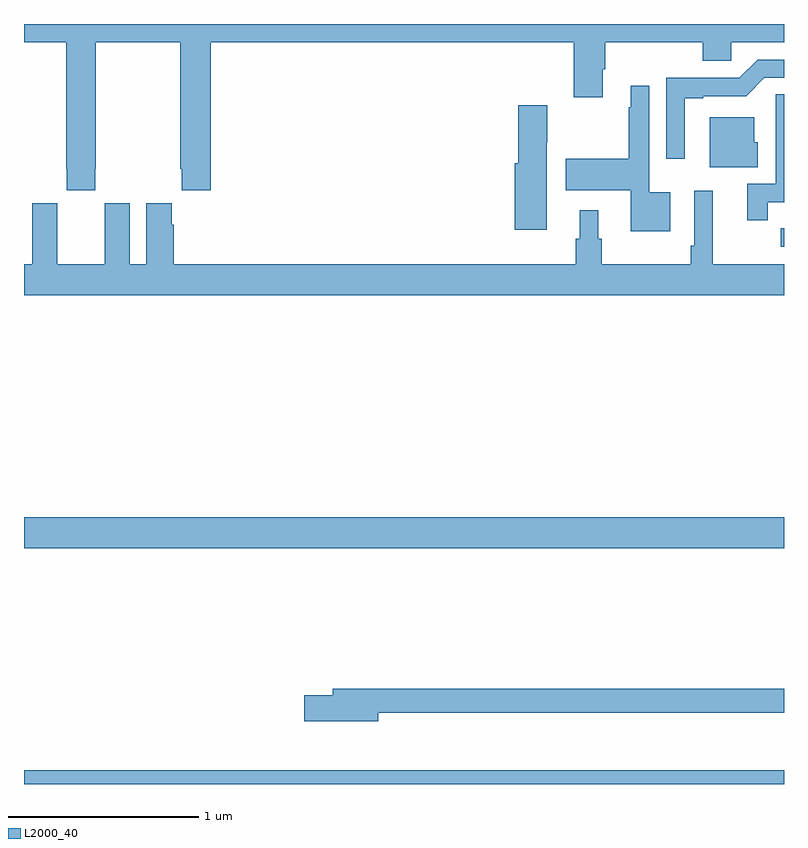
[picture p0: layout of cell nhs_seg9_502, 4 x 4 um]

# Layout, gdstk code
import gdstk
lib = gdstk.Library(unit=1e-6, precision=1e-09)
def R(c, l, rs):  # rectangles x0, y0, x1, y1
    for r in rs: c.add(gdstk.rectangle(r[:2], r[2:], *l))
def P(c, l, *ps):  # polygons
    for p in ps: c.add(gdstk.Polygon(p, *l))
L2000_40 = (2000, 40)

nhs_seg9_502 = lib.new_cell('nhs_seg9_502')
R(nhs_seg9_502, L2000_40, [(135,1208.5,139,1208.572), (135,1209.74,139,1209.904), (138.984,1211.328,139,1211.424)])
P(nhs_seg9_502, L2000_40, [(135,1212.404),(135.223,1212.404),(135.223,1211.737),(135.225,1211.737),(135.225,1211.625),(135.375,1211.625),(135.375,1211.737),(135.378,1211.737),(135.378,1212.404),(135.823,1212.404),(135.823,1211.737),(135.829,1211.737),(135.829,1211.625),(135.983,1211.625),(135.983,1212.404),(137.894,1212.404),(137.894,1212.114),(138.046,1212.114),(138.046,1212.262),(138.059,1212.262),(138.059,1212.404),(138.572,1212.404),(138.572,1212.306),(138.723,1212.306),(138.723,1212.404),(139,1212.404),(139,1212.5),(135,1212.5)],
  [(138.478,1212.108),(138.574,1212.108),(138.574,1212.12),(138.801,1212.12),(138.897,1212.216),(139,1212.216),(139,1212.312),(138.861,1212.312),(138.765,1212.216),(138.381,1212.216),(138.381,1211.79),(138.478,1211.79)],
  [(138.4,1211.614),(138.291,1211.614),(138.291,1212.175),(138.194,1212.175),(138.194,1212.062),(138.183,1212.062),(138.183,1211.79),(137.85,1211.79),(137.85,1211.624),(138.194,1211.624),(138.194,1211.408),(138.4,1211.408)],
  [(138.914,1211.562),(139,1211.562),(139,1212.131),(138.957,1212.131),(138.957,1212.02),(138.956,1212.02),(138.956,1211.658),(138.806,1211.658),(138.806,1211.466),(138.914,1211.466)],
  [(137.752,1211.878),(137.754,1211.878),(137.754,1212.073),(137.6,1212.073),(137.6,1211.766),(137.582,1211.766),(137.582,1211.418),(137.752,1211.418)],
  [(138.862,1211.877),(138.844,1211.877),(138.844,1212.01),(138.608,1212.01),(138.608,1211.747),(138.862,1211.747)],
  [(139,1211.236),(138.626,1211.236),(138.626,1211.623),(138.528,1211.623),(138.528,1211.332),(138.508,1211.332),(138.508,1211.236),(138.041,1211.236),(138.041,1211.37),(138.022,1211.37),(138.022,1211.521),(137.924,1211.521),(137.924,1211.37),(137.905,1211.37),(137.905,1211.236),(135.788,1211.236),(135.788,1211.444),(135.778,1211.444),(135.778,1211.557),(135.644,1211.557),(135.644,1211.236),(135.556,1211.236),(135.556,1211.557),(135.426,1211.557),(135.426,1211.444),(135.425,1211.444),(135.425,1211.236),(135.175,1211.236),(135.175,1211.444),(135.174,1211.444),(135.174,1211.557),(135.044,1211.557),(135.044,1211.236),(135,1211.236),(135,1211.072),(139,1211.072)],
  [(136.864,1208.874),(139,1208.874),(139,1209.002),(136.625,1209.002),(136.625,1208.966),(136.476,1208.966),(136.476,1208.831),(136.864,1208.831)])

lib.write_gds('nhs_seg9_502.gds')
